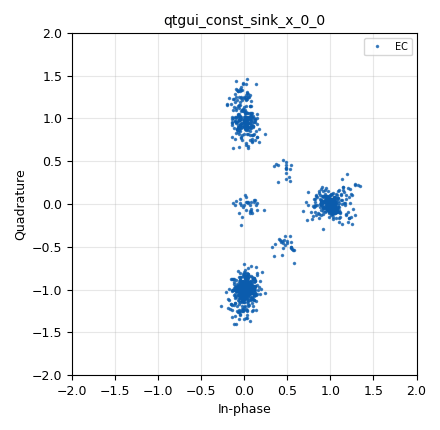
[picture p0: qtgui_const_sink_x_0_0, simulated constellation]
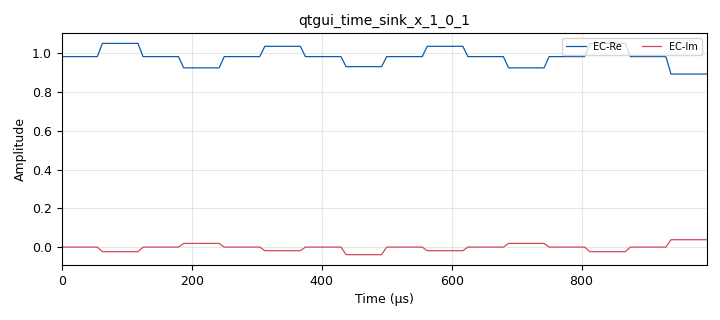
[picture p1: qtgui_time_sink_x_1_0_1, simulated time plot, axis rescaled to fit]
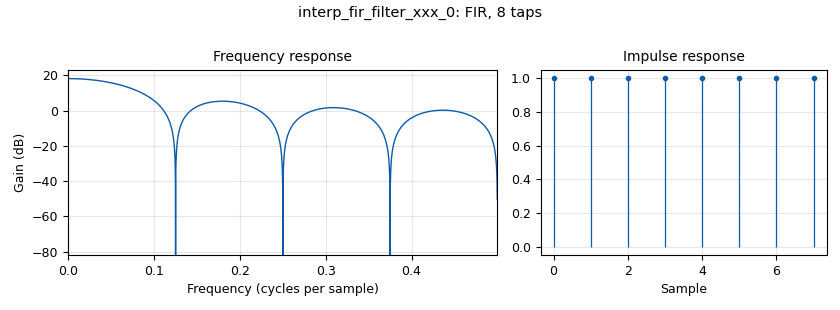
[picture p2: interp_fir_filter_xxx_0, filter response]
options:
  parameters:
    author: Jeanpaull Valencia
    description: Diseño de una modulación 8-PSK
    generate_options: qt_gui
    id: LABIV
    output_language: python
    title: Laboratorio de 8PSK
  states: {}

blocks:
- name: Constelacion
  id: variable
  parameters:
    value: (-1+0j,0+1j,1+0j,0-1j)
  states: {}
- name: M
  id: variable
  parameters:
    value: '4'
  states: {}
- name: Nbps
  id: variable
  parameters:
    value: int(math.log(M,2))
  states: {}
- name: Rb
  id: variable
  parameters:
    value: '32000'
  states: {}
- name: Rs
  id: variable
  parameters:
    value: Rb/Nbps
  states: {}
- name: Sps
  id: variable
  parameters:
    value: len(h)
  states: {}
- name: h
  id: variable
  parameters:
    value: (1.,1.,1.,1.,1.,1.,1.,1.)
  states: {}
- name: samp_rate
  id: variable
  parameters:
    value: Rs*Sps
  states: {}
- name: analog_noise_source_x_1
  id: analog_noise_source_x
  parameters:
    amp: '0.1'
    noise_type: analog.GR_GAUSSIAN
    seed: '0'
    type: complex
  states: {}
- name: analog_random_source_x_0
  id: analog_random_source_x
  parameters:
    max: '2'
    min: '0'
    num_samps: '1000'
    repeat: 'True'
    type: byte
  states: {}
- name: blocks_add_xx_0
  id: blocks_add_xx
  parameters:
    type: complex
  states: {}
- name: blocks_char_to_float_0
  id: blocks_char_to_float
  parameters:
    scale: '1'
  states: {state: disabled}
- name: blocks_char_to_float_0_0
  id: blocks_char_to_float
  parameters:
    scale: '1'
  states: {state: disabled}
- name: blocks_null_sink_0
  id: blocks_null_sink
  parameters:
    type: complex
  states: {}
- name: blocks_repack_bits_bb_0
  id: blocks_repack_bits_bb
  parameters:
    endianness: gr.GR_LSB_FIRST
    k: '1'
    l: Nbps
  states: {}
- name: blocks_throttle2_0
  id: blocks_throttle2
  parameters:
    samples_per_second: samp_rate
    type: complex
  states: {}
- name: digital_psk_mod_0
  id: digital_psk_mod
  parameters:
    constellation_points: M
    differential: 'True'
    excess_bw: '0.00000001'
    mod_code: '"none"'
    samples_per_symbol: Nbps
    verbose: 'True'
  states: {}
- name: import_0
  id: import
  parameters:
    imports: import math
  states: {}
- name: interp_fir_filter_xxx_0
  id: interp_fir_filter_xxx
  parameters:
    interp: Sps
    taps: h
    type: ccc
  states: {}
- name: qtgui_const_sink_x_0
  id: qtgui_const_sink_x
  parameters:
    label1: EC
    size: '1024'
    type: complex
  states: {state: disabled}
- name: qtgui_const_sink_x_0_0
  id: qtgui_const_sink_x
  parameters:
    label1: EC
    size: '1024'
    type: complex
  states: {}
- name: qtgui_const_sink_x_0_0_0
  id: qtgui_const_sink_x
  parameters:
    label1: EC
    size: '1024'
    type: complex
  states: {state: disabled}
- name: qtgui_freq_sink_x_0
  id: qtgui_freq_sink_x
  parameters:
    average: '0.05'
    bw: samp_rate
    fc: '0'
    fftsize: '1024'
    type: complex
  states: {state: disabled}
- name: qtgui_time_sink_x_0
  id: qtgui_time_sink_x
  parameters:
    label1: Random Signal
    size: '32'
    srate: Rb
    stemplot: 'True'
    type: float
    width1: '2'
  states: {state: disabled}
- name: qtgui_time_sink_x_0_0
  id: qtgui_time_sink_x
  parameters:
    label1: Packed signal
    size: int(32/Nbps)
    srate: Rb
    stemplot: 'True'
    type: float
    width1: '2'
  states: {state: disabled}
- name: qtgui_time_sink_x_0_1
  id: qtgui_time_sink_x
  parameters:
    label1: M-PAM
    size: '32'
    srate: Rb
    stemplot: 'True'
    type: float
    width1: '2'
  states: {state: disabled}
- name: qtgui_time_sink_x_1_0
  id: qtgui_time_sink_x
  parameters:
    color1: dark red
    label1: EC-Re
    label2: EC-Im
    size: int(32*Sps/Nbps)
    srate: samp_rate
    type: complex
  states: {state: disabled}
- name: qtgui_time_sink_x_1_0_0
  id: qtgui_time_sink_x
  parameters:
    color1: red
    color2: blue
    label1: EC-Re
    label2: EC-Im
    size: '512'
    srate: samp_rate
    type: complex
  states: {state: disabled}
- name: qtgui_time_sink_x_1_0_1
  id: qtgui_time_sink_x
  parameters:
    color1: dark red
    label1: EC-Re
    label2: EC-Im
    size: int(32*Sps/Nbps)
    srate: samp_rate
    type: complex
  states: {}
- name: virtual_sink_0
  id: virtual_sink
  parameters:
    stream_id: OUT
  states: {}
- name: virtual_sink_1
  id: virtual_sink
  parameters:
    stream_id: D8PSK
  states: {}
- name: virtual_source_0
  id: virtual_source
  parameters:
    stream_id: OUT
  states: {}
- name: virtual_source_0_0
  id: virtual_source
  parameters:
    stream_id: D8PSK
  states: {}

connections:
- [analog_noise_source_x_1, '0', blocks_add_xx_0, '0']
- [analog_noise_source_x_1, '0', qtgui_time_sink_x_1_0_0, '0']
- [analog_random_source_x_0, '0', blocks_char_to_float_0, '0']
- [analog_random_source_x_0, '0', blocks_repack_bits_bb_0, '0']
- [blocks_add_xx_0, '0', blocks_null_sink_0, '0']
- [blocks_add_xx_0, '0', qtgui_const_sink_x_0_0, '0']
- [blocks_char_to_float_0, '0', qtgui_time_sink_x_0, '0']
- [blocks_char_to_float_0_0, '0', qtgui_time_sink_x_0_0, '0']
- [blocks_repack_bits_bb_0, '0', blocks_char_to_float_0_0, '0']
- [blocks_repack_bits_bb_0, '0', virtual_sink_0, '0']
- [blocks_throttle2_0, '0', blocks_add_xx_0, '1']
- [blocks_throttle2_0, '0', qtgui_time_sink_x_1_0_1, '0']
- [digital_psk_mod_0, '0', virtual_sink_1, '0']
- [interp_fir_filter_xxx_0, '0', blocks_throttle2_0, '0']
- [interp_fir_filter_xxx_0, '0', qtgui_freq_sink_x_0, '0']
- [interp_fir_filter_xxx_0, '0', qtgui_time_sink_x_1_0, '0']
- [virtual_source_0, '0', digital_psk_mod_0, '0']
- [virtual_source_0_0, '0', interp_fir_filter_xxx_0, '0']
- [virtual_source_0_0, '0', qtgui_const_sink_x_0, '0']

metadata:
  file_format: 1
  grc_version: 3.10.9.2
